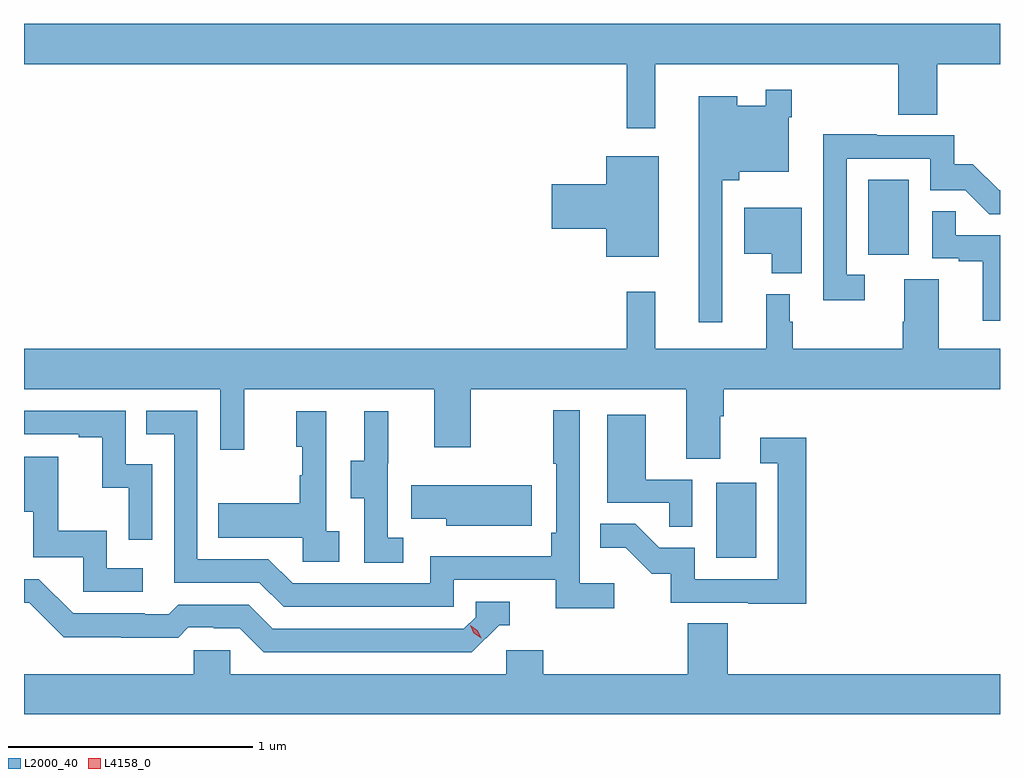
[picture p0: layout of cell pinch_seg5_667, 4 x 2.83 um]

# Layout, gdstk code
import gdstk
lib = gdstk.Library(unit=1e-6, precision=1e-09)
def R(c, l, rs):  # rectangles x0, y0, x1, y1
    for r in rs: c.add(gdstk.rectangle(r[:2], r[2:], *l))
def P(c, l, *ps):  # polygons
    for p in ps: c.add(gdstk.Polygon(p, *l))
L2000_40 = (2000, 40)
L4158_0 = (4158, 0)

pinch_seg5_667 = lib.new_cell('pinch_seg5_667')
R(pinch_seg5_667, L2000_40, [(1045.37,845.412,1045.534,845.719), (1045.994,846.654,1046.158,846.961)])
P(pinch_seg5_667, L2000_40, [(1045.12,847.436),(1046.116,847.436),(1046.116,847.228),(1046.276,847.228),(1046.276,847.436),(1046.533,847.436),(1046.533,847.6),(1042.533,847.6),(1042.533,847.436),(1045.003,847.436),(1045.003,847.173),(1045.12,847.173)],
  [(1045.395,846.959),(1045.464,846.959),(1045.464,846.995),(1045.668,846.995),(1045.668,847.217),(1045.68,847.217),(1045.68,847.33),(1045.572,847.33),(1045.572,847.264),(1045.456,847.264),(1045.456,847.303),(1045.298,847.303),(1045.298,846.378),(1045.395,846.378)],
  [(1045.978,846.573),(1045.905,846.573),(1045.905,847.047),(1046.247,847.047),(1046.247,846.918),(1046.391,846.918),(1046.489,846.82),(1046.533,846.82),(1046.533,846.919),(1046.529,846.919),(1046.422,847.026),(1046.346,847.026),(1046.346,847.143),(1046.027,847.143),(1046.027,847.148),(1045.809,847.148),(1045.809,846.468),(1045.978,846.468)],
  [(1045.135,847.057),(1044.92,847.057),(1044.92,846.944),(1044.696,846.944),(1044.696,846.761),(1044.92,846.761),(1044.92,846.647),(1045.135,846.647)],
  [(1045.72,846.847),(1045.484,846.847),(1045.484,846.659),(1045.598,846.659),(1045.598,846.578),(1045.72,846.578)],
  [(1046.533,846.735),(1046.351,846.735),(1046.351,846.833),(1046.256,846.833),(1046.256,846.639),(1046.363,846.639),(1046.363,846.627),(1046.462,846.627),(1046.462,846.384),(1046.533,846.384)],
  [(1045.387,845.992),(1045.4,845.992),(1045.4,846.104),(1046.533,846.104),(1046.533,846.268),(1046.281,846.268),(1046.281,846.554),(1046.141,846.554),(1046.141,846.38),(1046.134,846.38),(1046.134,846.268),(1045.684,846.268),(1045.684,846.38),(1045.672,846.38),(1045.672,846.493),(1045.574,846.493),(1045.574,846.268),(1045.121,846.268),(1045.121,846.502),(1045.003,846.502),(1045.003,846.268),(1042.533,846.268),(1042.533,846.104),(1043.337,846.104),(1043.337,845.856),(1043.435,845.856),(1043.435,846.104),(1044.215,846.104),(1044.215,845.865),(1044.363,845.865),(1044.363,846.104),(1045.247,846.104),(1045.247,845.818),(1045.387,845.818)],
  [(1044.952,845.308),(1044.81,845.308),(1044.81,846.016),(1044.702,846.016),(1044.702,845.797),(1044.714,845.797),(1044.714,845.515),(1044.694,845.515),(1044.694,845.418),(1044.198,845.418),(1044.198,845.307),(1043.634,845.307),(1043.535,845.406),(1043.244,845.406),(1043.244,846.015),(1043.035,846.015),(1043.035,845.919),(1043.148,845.919),(1043.148,845.31),(1043.498,845.31),(1043.597,845.211),(1044.294,845.211),(1044.294,845.322),(1044.713,845.322),(1044.713,845.206),(1044.952,845.206)],
  [(1043.058,845.796),(1042.95,845.796),(1042.95,846.015),(1042.533,846.015),(1042.533,845.919),(1042.757,845.919),(1042.757,845.907),(1042.853,845.907),(1042.853,845.699),(1042.962,845.699),(1042.962,845.487),(1043.058,845.487)],
  [(1043.824,845.522),(1043.772,845.522),(1043.772,846.013),(1043.648,846.013),(1043.648,845.868),(1043.674,845.868),(1043.674,845.75),(1043.664,845.75),(1043.664,845.635),(1043.329,845.635),(1043.329,845.495),(1043.676,845.495),(1043.676,845.397),(1043.824,845.397)],
  [(1044.088,845.495),(1044.024,845.495),(1044.024,845.799),(1044.026,845.799),(1044.026,846.013),(1043.927,846.013),(1043.927,845.811),(1043.873,845.811),(1043.873,845.656),(1043.928,845.656),(1043.928,845.392),(1044.088,845.392)],
  [(1045.272,845.733),(1045.081,845.733),(1045.081,845.998),(1044.923,845.998),(1044.923,845.637),(1045.177,845.637),(1045.177,845.539),(1045.272,845.539)],
  [(1045.739,845.905),(1045.551,845.905),(1045.551,845.799),(1045.623,845.799),(1045.623,845.325),(1045.281,845.325),(1045.281,845.454),(1045.137,845.454),(1045.039,845.552),(1044.895,845.552),(1044.895,845.453),(1044.999,845.453),(1045.106,845.346),(1045.183,845.346),(1045.183,845.229),(1045.501,845.229),(1045.501,845.224),(1045.739,845.224)],
  [(1043.02,845.37),(1042.872,845.37),(1042.872,845.524),(1042.673,845.524),(1042.673,845.827),(1042.533,845.827),(1042.533,845.601),(1042.571,845.601),(1042.571,845.415),(1042.776,845.415),(1042.776,845.274),(1043.02,845.274)],
  [(1044.613,845.71),(1044.121,845.71),(1044.121,845.573),(1044.264,845.573),(1044.264,845.543),(1044.613,845.543)],
  [(1044.48,845.136),(1044.523,845.136),(1044.523,845.232),(1044.384,845.232),(1044.384,845.169),(1044.336,845.121),(1043.553,845.121),(1043.454,845.22),(1043.165,845.22),(1043.126,845.181),(1043.027,845.181),(1043.027,845.184),(1042.734,845.184),(1042.593,845.325),(1042.533,845.325),(1042.533,845.229),(1042.554,845.229),(1042.696,845.087),(1042.932,845.087),(1042.932,845.085),(1043.165,845.085),(1043.207,845.127),(1043.31,845.127),(1043.31,845.124),(1043.417,845.124),(1043.516,845.025),(1044.369,845.025)],
  [(1046.533,844.936),(1045.418,844.936),(1045.418,845.144),(1045.253,845.144),(1045.253,844.936),(1044.662,844.936),(1044.662,845.034),(1044.51,845.034),(1044.51,844.936),(1043.379,844.936),(1043.379,845.034),(1043.229,845.034),(1043.229,844.936),(1042.533,844.936),(1042.533,844.772),(1046.533,844.772)])
P(pinch_seg5_667, L4158_0, [(1044.407,845.083),(1044.376,845.103),(1044.361,845.135),(1044.361,845.136),(1044.361,845.136),(1044.391,845.116),(1044.407,845.084),(1044.407,845.083)])

lib.write_gds('pinch_seg5_667.gds')
